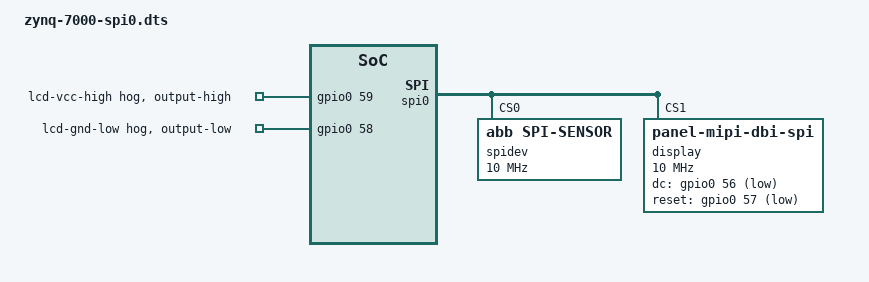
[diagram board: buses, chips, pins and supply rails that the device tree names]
/dts-v1/;
/plugin/;

/ {
    framebuffer {
    	compatible = "simple-framebuffer";
    	width = <240>;
    	height = <320>;
    	stride = <(240 * 2)>;
    	format = "r5g6b5";
    	status = "okay";
    };
};

&gpio0 {
    status = "okay";
    lcd_power {
        gpio-hog;
        gpios = <59 0>;
        output-high;
    	line-name = "lcd-vcc-high";
    };

    lcd_groud {
        gpio-hog;
        gpios = <58 0>;
        output-low;
        line-name = "lcd-gnd-low";
    };
};

&spi0 {
    status = "okay";
    num-cs = <2>;
    #address-cells = <1>;
    #size-cells = <0>;
    spidev@0 {
        compatible = "abb,spi-sensor";          /* 关键！使用通用驱动 */
        reg = <0>;
        spi-max-frequency = <10000000>;
    };
    display@1 {
        compatible = "panel-mipi-dbi-spi";
	reg = <1>;
        spi-max-frequency = <10000000>;
	dc-gpios = <&gpio0 56 1>;
	reset-gpios = <&gpio0 57 1>;
        panel: panel {
            compatible = "sitronix,st7789v";
    
            panel-timing {
                clock-frequency = <6000000>;    /* 6 MHz 像素时钟 */
                hactive = <240>;                /* 水平分辨率 */
                vactive = <320>;                /* 垂直分辨率 */
                hfront-porch = <10>;            /* 水平前肩 */
                hback-porch = <10>;             /* 水平后肩 */
                hsync-len = <10>;               /* 水平同步宽度 */
                vfront-porch = <4>;             /* 垂直前肩 */
                vback-porch = <4>;              /* 垂直后肩 */
                vsync-len = <4>;                /* 垂直同步宽度 */
            };
	};
    };
};
